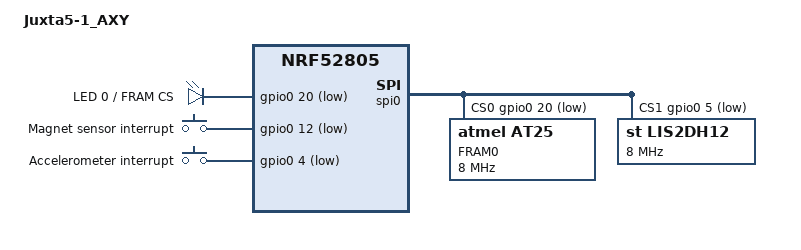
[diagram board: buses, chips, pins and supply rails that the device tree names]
/dts-v1/;
#include <nordic/nrf52805_caaa.dtsi>
#include "Juxta5-1_AXY-pinctrl.dtsi"

/ {
	model = "Juxta5-1_AXY";
	compatible = "NeurotechHub,Juxta5-1_AXY";

	chosen {
		zephyr,sram = &sram0;
		zephyr,flash = &flash0;
		zephyr,code-partition = &slot0_partition;
	};

	leds {
		compatible = "gpio-leds";
		/* Note: LED is shared with FRAM CS on P0.20 */
		led0: led_0 {
			gpios = <&gpio0 20 GPIO_ACTIVE_LOW>;
			label = "LED 0 / FRAM CS";
		};
	};

	gpio_keys {
		compatible = "gpio-keys";
		magnet_sensor: magnet_sensor {
			gpios = <&gpio0 12 GPIO_ACTIVE_LOW>;
			label = "Magnet sensor interrupt";
		};
		accel_int: accel_int {
			gpios = <&gpio0 4 GPIO_ACTIVE_LOW>;
			label = "Accelerometer interrupt";
		};
	};

	aliases {
		led0 = &led0;
		magnet-sensor = &magnet_sensor;
		accel-int = &accel_int;
		spi-fram = &fram0;
		spi-accel = &accel0;
	};
};

&gpio0 {
	status = "okay";
};

&gpiote {
	status = "okay";
};

&spi0 {
	compatible = "nordic,nrf-spim";
	status = "okay";
	
	pinctrl-0 = <&spi0_default>;
	pinctrl-1 = <&spi0_sleep>;
	pinctrl-names = "default", "sleep";
	
	cs-gpios = <&gpio0 20 GPIO_ACTIVE_LOW>,  /* FRAM CS */
		   <&gpio0 5 GPIO_ACTIVE_LOW>;   /* Accelerometer CS */
	
	fram0: fram@0 {
		compatible = "atmel,at25";
		reg = <0>;
		spi-max-frequency = <8000000>;
		size = <DT_SIZE_K(32)>; /* Adjust size based on your FRAM */
		pagesize = <64>;
		address-width = <16>;
		timeout = <5>;
		label = "FRAM0";
	};

	accel0: accel@1 {
		compatible = "st,lis2dh12", "st,lis2dh";
		reg = <1>;
		spi-max-frequency = <8000000>;
		label = "LIS2DH12";
	};
};

/* ADC not used in this variant - P0.04 and P0.05 are used for accelerometer */
&adc {
	status = "disabled";
};

&flash0 {
	partitions {
		compatible = "fixed-partitions";
		#address-cells = <1>;
		#size-cells = <1>;

		boot_partition: partition@0 {
			label = "mcuboot";
			reg = <0x00000000 DT_SIZE_K(48)>;
		};

		slot0_partition: partition@c000 {
			label = "image-0";
			reg = <0x0000c000 DT_SIZE_K(56)>;
		};

		slot1_partition: partition@1a000 {
			label = "image-1";
			reg = <0x0001a000 DT_SIZE_K(56)>;
		};

		storage_partition: partition@28000 {
			label = "storage";
			reg = <0x00028000 DT_SIZE_K(32)>;
		};
	};
};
